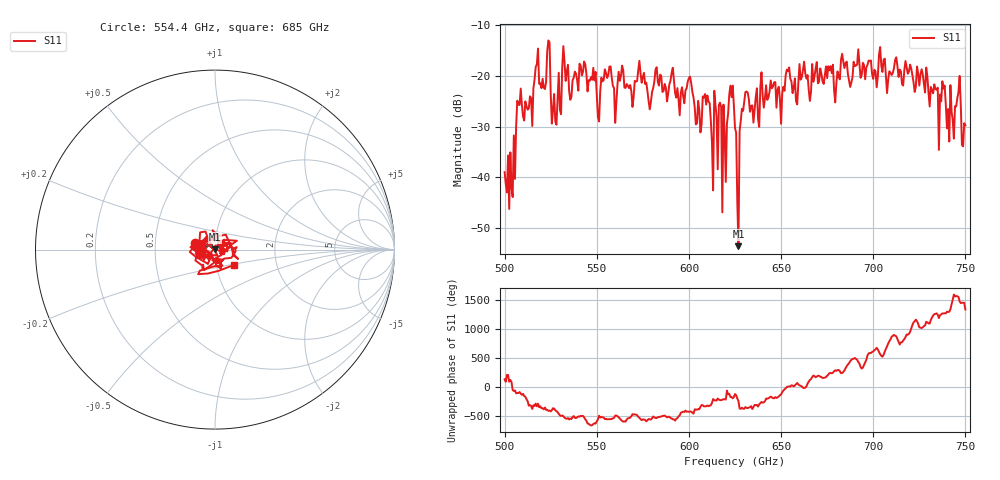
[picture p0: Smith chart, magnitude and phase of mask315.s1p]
!Created with skrf (http://scikit-rf.org).
# GHz S MA R 50.0
!freq magS11 angS11
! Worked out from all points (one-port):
!   401 points, 500 GHz to 750 GHz, reference 50 ohm
!   lowest |S11| = -53.6 dB at 626.9 GHz (marker M1), VSWR 1.00, Z = 49.9 + j0.193 ohm
!   |S11| at or under -10 dB: start of sweep to end of sweep
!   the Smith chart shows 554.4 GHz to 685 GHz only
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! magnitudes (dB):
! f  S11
! 500 GHz  -39.0
! 505 GHz  -31.7
! 508.1 GHz  -25.7
! 513.8 GHz  -24.0
! 516.9 GHz  -18.2
! 521.2 GHz  -22.3
! 523.8 GHz  -13.0
! 526.9 GHz  -23.5
! 531.2 GHz  -18.4
! 542.5 GHz  -19.2
! 551.2 GHz  -29.0
! 562.5 GHz  -20.9
! 593.8 GHz  -22.4
! 610 GHz  -23.8
! 611.9 GHz  -28.7
! 616.2 GHz  -25.7
! 619.4 GHz  -31.2
! 623.1 GHz  -24.2
! 625 GHz  -30.2
! 626.9 GHz  -53.6
! 628.8 GHz  -26.5
! 631.2 GHz  -23.1
! 656.2 GHz  -23.4
! 687.5 GHz  -22.1
! 718.8 GHz  -19.5
! 742.5 GHz  -27.0
! 746.2 GHz  -23.1
! 750 GHz  -29.7
